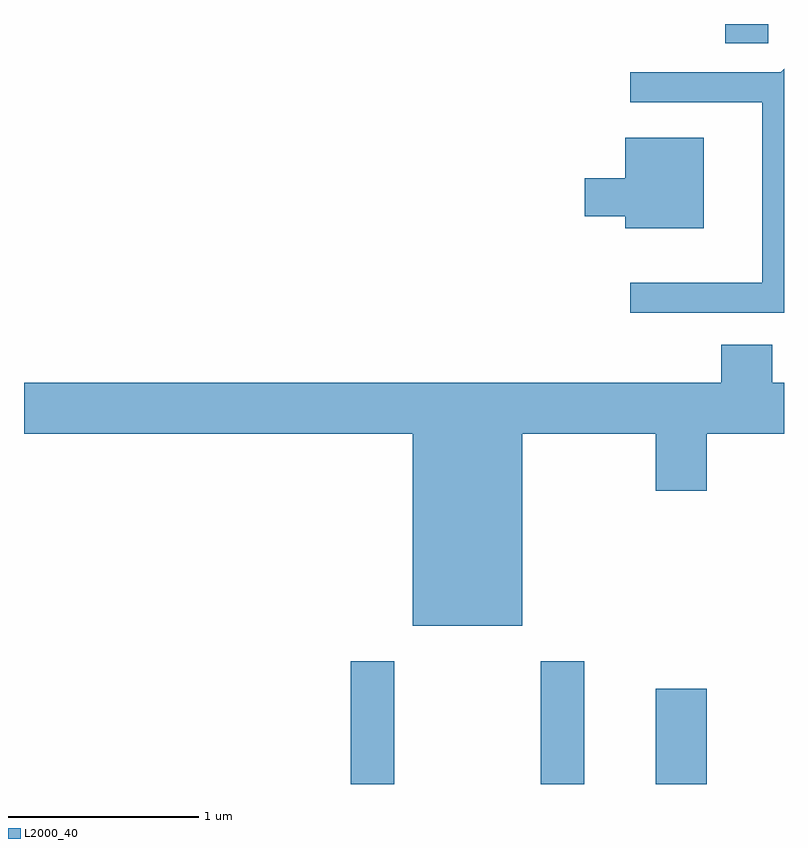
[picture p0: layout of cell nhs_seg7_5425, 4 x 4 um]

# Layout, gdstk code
import gdstk
lib = gdstk.Library(unit=1e-6, precision=1e-09)
def R(c, l, rs):  # rectangles x0, y0, x1, y1
    for r in rs: c.add(gdstk.rectangle(r[:2], r[2:], *l))
def P(c, l, *ps):  # polygons
    for p in ps: c.add(gdstk.Polygon(p, *l))
L2000_40 = (2000, 40)

nhs_seg7_5425 = lib.new_cell('nhs_seg7_5425')
R(nhs_seg7_5425, L2000_40, [(353.331,1710.252,353.559,1710.899), (354.331,1710.252,354.559,1710.899), (354.936,1710.252,355.204,1710.754), (355.301,1714.151,355.529,1714.252)])
P(nhs_seg7_5425, L2000_40, [(355.611,1714.016),(355.594,1713.999),(354.803,1713.999),(354.803,1713.841),(355.496,1713.841),(355.496,1712.889),(354.803,1712.889),(354.803,1712.731),(355.611,1712.731)],
  [(355.189,1713.654),(354.776,1713.654),(354.776,1713.439),(354.561,1713.439),(354.561,1713.241),(354.776,1713.241),(354.776,1713.176),(355.189,1713.176)],
  [(354.234,1712.096),(354.936,1712.096),(354.936,1711.796),(355.204,1711.796),(355.204,1712.096),(355.611,1712.096),(355.611,1712.364),(355.549,1712.364),(355.549,1712.564),(355.281,1712.564),(355.281,1712.364),(351.611,1712.364),(351.611,1712.096),(353.656,1712.096),(353.656,1711.086),(354.234,1711.086)])

lib.write_gds('nhs_seg7_5425.gds')
